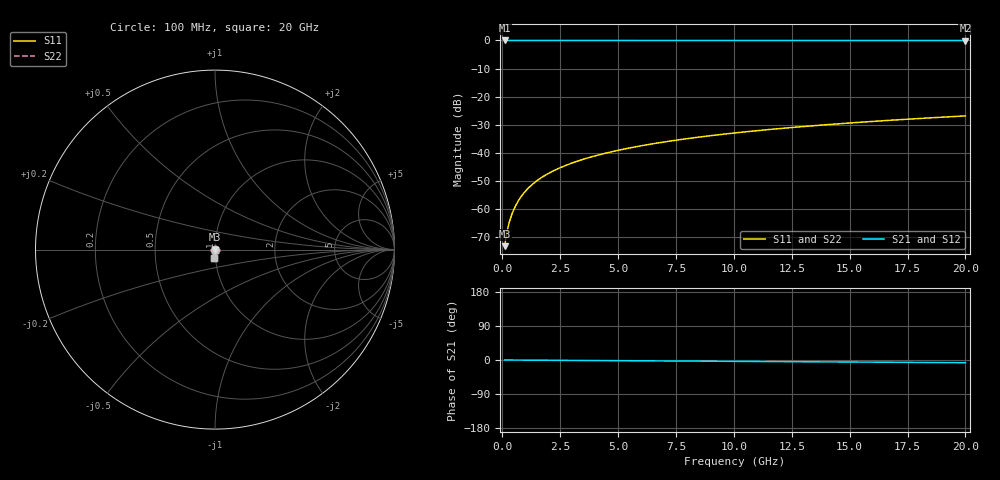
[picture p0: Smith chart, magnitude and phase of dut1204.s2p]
! Touchstone file exported from HFSS 2026.1.0
!  File:  C:/ffzhzh/LocalFiles/Ansys_Project_Files/temp_train_TSV_1204_1783192701_43440.aedt
!  Generated:  03:19:34 AM Jul  5, 2026
!  Design:  TSV
!  Project:  temp_train_TSV_1204_1783192701_43440
! Variables:
!  h_bsmrdl = 2um
!  h_ox = 20um
!  h_rdl = 5um
!  h_sub = 69.05um
!  h_tmrdl = 5um
!  h_tsv = 69.05um
!  h_via = 3um
!  l_bsmrdl = 300um
!  l_sub = 420.26um
!  l_tmrdl = 200um
!  m_sub = 200um
!  pitch = 29.39um
!  r_tsv = 10.13um
!  s_tmrdl = 10um
!  w_bsmrdl = 18um
!  w_sub = 500um
!  w_tmrdl = 12um
!  x_tsv_center1 = 206um
!  x_tsv_center2 = 524um
!  x_tsv_center3 = 736um
!  x_tsv_center4 = 1054um
!  x_tsv_center5 = 1266um
!  x_tsv_center6 = 1584um
# GHz S MA R 50.000000
! Terminal data exported
! Port[1] = TSV1_1_T1
! Port[2] = TSV1_1_T2
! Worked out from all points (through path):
!   200 points, 100 MHz to 20 GHz, reference 50 ohm
!   highest |S21| = 0.00 dB at 100 MHz (marker M1); lowest = 0.0 dB at 20 GHz (marker M2)
!   lowest |S11| = -73.3 dB at 100 MHz (marker M3), VSWR 1.00, Z = 50 - j0.018 ohm
!   |S11| at or under -10 dB: start of sweep to end of sweep
!   |S22| runs from -73.3 to -26.9 dB; largest |S21 - S12| = 3e-15
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0.1  0.0002169 -56.1  0.9999 -0.0  0.9999 -0.0  0.0002169 -56.1
! Gamma 0 0 0 0
! Port Impedance 50 0 50 0
0.2  0.0003886 -69.6  0.9999 -0.1  0.9999 -0.1  0.0003886 -69.6
0.3  0.0005768 -74.2  0.9998 -0.1  0.9998 -0.1  0.0005768 -74.2
0.4  0.0007751 -76.5  0.9998 -0.2  0.9998 -0.2  0.0007751 -76.5
0.5  0.0009812 -77.9  0.9998 -0.2  0.9998 -0.2  0.0009812 -77.9
0.7  0.001409 -79.7  0.9997 -0.3  0.9997 -0.3  0.001409 -79.7
0.8  0.001628 -80.4  0.9997 -0.3  0.9997 -0.3  0.001628 -80.4
1  0.002071 -81.6  0.9997 -0.4  0.9997 -0.4  0.002071 -81.6
1.2  0.002517 -82.6  0.9997 -0.4  0.9997 -0.4  0.002517 -82.6
1.4  0.002963 -83.4  0.9996 -0.5  0.9996 -0.5  0.002963 -83.4
1.7  0.003633 -84.4  0.9996 -0.6  0.9996 -0.6  0.003633 -84.4
2  0.004303 -85.1  0.9996 -0.7  0.9996 -0.7  0.004303 -85.1
2.7  0.005866 -86.3  0.9995 -1.0  0.9995 -1.0  0.005866 -86.3
3.5  0.007659 -87.3  0.9994 -1.3  0.9994 -1.3  0.007659 -87.3
4.2  0.009235 -87.9  0.9994 -1.5  0.9994 -1.5  0.009235 -87.9
5  0.01104 -88.4  0.9993 -1.8  0.9993 -1.8  0.01104 -88.4
6.8  0.01513 -89.6  0.9991 -2.4  0.9991 -2.4  0.01513 -89.6
8.3  0.01856 -90.4  0.999 -3.0  0.999 -3.0  0.01856 -90.4
10.1  0.02267 -91.2  0.9988 -3.6  0.9988 -3.6  0.02267 -91.2
13.4  0.03022 -92.7  0.9985 -4.8  0.9985 -4.8  0.03022 -92.7
16.7  0.03777 -94.1  0.9981 -5.9  0.9981 -5.9  0.03777 -94.1
20  0.04532 -95.4  0.9976 -7.1  0.9976 -7.1  0.04532 -95.4
